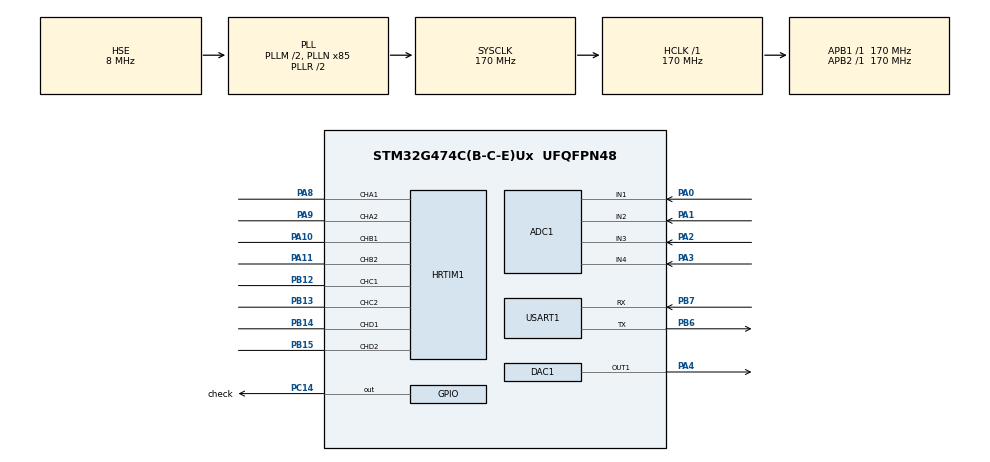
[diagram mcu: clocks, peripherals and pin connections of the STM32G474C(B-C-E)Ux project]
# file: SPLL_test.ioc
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ADC1.Channel-0\#ChannelRegularConversion=ADC_CHANNEL_1
ADC1.Channel-1\#ChannelRegularConversion=ADC_CHANNEL_2
ADC1.Channel-2\#ChannelRegularConversion=ADC_CHANNEL_3
ADC1.Channel-3\#ChannelRegularConversion=ADC_CHANNEL_4
ADC1.DMAContinuousRequests=ENABLE
ADC1.DiscontinuousConvMode=ENABLE
ADC1.EOCSelection=ADC_EOC_SINGLE_CONV
ADC1.ExternalTrigConv=ADC_EXTERNALTRIG_T3_TRGO
ADC1.LowPowerAutoWait=DISABLE
ADC1.NbrOfConversion=4
ADC1.NbrOfConversionFlag=1
ADC1.NbrOfDiscConversion=4
ADC1.OffsetNumber-0\#ChannelRegularConversion=ADC_OFFSET_NONE
ADC1.OffsetNumber-1\#ChannelRegularConversion=ADC_OFFSET_NONE
ADC1.OffsetNumber-2\#ChannelRegularConversion=ADC_OFFSET_NONE
ADC1.OffsetNumber-3\#ChannelRegularConversion=ADC_OFFSET_NONE
ADC1.Rank-0\#ChannelRegularConversion=1
ADC1.Rank-1\#ChannelRegularConversion=2
ADC1.Rank-2\#ChannelRegularConversion=3
ADC1.Rank-3\#ChannelRegularConversion=4
ADC1.SamplingTime-0\#ChannelRegularConversion=ADC_SAMPLETIME_2CYCLES_5
ADC1.SamplingTime-1\#ChannelRegularConversion=ADC_SAMPLETIME_2CYCLES_5
ADC1.SamplingTime-2\#ChannelRegularConversion=ADC_SAMPLETIME_2CYCLES_5
ADC1.SamplingTime-3\#ChannelRegularConversion=ADC_SAMPLETIME_2CYCLES_5
ADC1.master=1
DAC1.DAC_DMADoubleDataMode-DAC_OUT1=DISABLE
DAC1.DAC_OutputBuffer-DAC_OUT1=DAC_OUTPUTBUFFER_DISABLE
DAC1.DAC_SignedFormat-DAC_OUT1=DISABLE
DAC1.DAC_Trigger2_OUT1-DAC_OUT1=DAC_TRIGGER_NONE
DAC1.DAC_Trigger_OUT1-DAC_OUT1=DAC_TRIGGER_NONE
DAC1.DAC_UserTrimming-DAC_OUT1=DAC_TRIMMING_FACTORY
Dma.ADC1.0.Direction=DMA_PERIPH_TO_MEMORY
Dma.ADC1.0.EventEnable=DISABLE
Dma.ADC1.0.Instance=DMA1_Channel1
Dma.ADC1.0.MemDataAlignment=DMA_MDATAALIGN_HALFWORD
Dma.ADC1.0.MemInc=DMA_MINC_ENABLE
Dma.ADC1.0.Mode=DMA_CIRCULAR
Dma.ADC1.0.PeriphDataAlignment=DMA_PDATAALIGN_HALFWORD
Dma.ADC1.0.PeriphInc=DMA_PINC_DISABLE
Dma.ADC1.0.Polarity=HAL_DMAMUX_REQ_GEN_RISING
Dma.ADC1.0.Priority=DMA_PRIORITY_VERY_HIGH
Dma.ADC1.0.RequestNumber=1
Dma.ADC1.0.SignalID=NONE
Dma.ADC1.0.SyncEnable=DISABLE
Dma.ADC1.0.SyncPolarity=HAL_DMAMUX_SYNC_NO_EVENT
Dma.ADC1.0.SyncRequestNumber=1
Dma.ADC1.0.SyncSignalID=NONE
Dma.DAC1_CH1.1.Direction=DMA_MEMORY_TO_PERIPH
Dma.DAC1_CH1.1.EventEnable=DISABLE
Dma.DAC1_CH1.1.Instance=DMA1_Channel2
Dma.DAC1_CH1.1.MemDataAlignment=DMA_MDATAALIGN_HALFWORD
Dma.DAC1_CH1.1.MemInc=DMA_MINC_ENABLE
Dma.DAC1_CH1.1.Mode=DMA_CIRCULAR
Dma.DAC1_CH1.1.PeriphDataAlignment=DMA_PDATAALIGN_HALFWORD
Dma.DAC1_CH1.1.PeriphInc=DMA_PINC_DISABLE
Dma.DAC1_CH1.1.Polarity=HAL_DMAMUX_REQ_GEN_RISING
Dma.DAC1_CH1.1.Priority=DMA_PRIORITY_VERY_HIGH
Dma.DAC1_CH1.1.RequestNumber=1
Dma.DAC1_CH1.1.SignalID=NONE
Dma.DAC1_CH1.1.SyncEnable=DISABLE
Dma.DAC1_CH1.1.SyncPolarity=HAL_DMAMUX_SYNC_NO_EVENT
Dma.DAC1_CH1.1.SyncRequestNumber=1
Dma.DAC1_CH1.1.SyncSignalID=NONE
Dma.Request0=ADC1
Dma.Request1=DAC1_CH1
HRTIM1.CompareUnit1-MasterTimer=HRTIM_COMPAREUNIT_1
HRTIM1.CompareUnit1-Output_TA1TA2=HRTIM_COMPAREUNIT_1
HRTIM1.CompareUnit1-Output_TB1TB2=HRTIM_COMPAREUNIT_1
HRTIM1.CompareUnit2-MasterTimer=HRTIM_COMPAREUNIT_2
HRTIM1.CompareUnit3-MasterTimer=HRTIM_COMPAREUNIT_3
HRTIM1.CompareUnit4-MasterTimer=HRTIM_COMPAREUNIT_4
HRTIM1.CompareValue1-MasterTimer=100
HRTIM1.CompareValue2-MasterTimer=100
HRTIM1.CompareValue3-MasterTimer=200
HRTIM1.CompareValue4-MasterTimer=300
HRTIM1.DeadTimeInsertion-Output_TA1TA2=HRTIM_TIMDEADTIMEINSERTION_ENABLED
HRTIM1.DeadTimeInsertion-Output_TB1TB2=HRTIM_TIMDEADTIMEINSERTION_ENABLED
HRTIM1.DeadTimeInsertion-Output_TC1TC2=HRTIM_TIMDEADTIMEINSERTION_ENABLED
HRTIM1.DeadTimeInsertion-Output_TD1TD2=HRTIM_TIMDEADTIMEINSERTION_ENABLED
HRTIM1.FallingSign-Output_TA1TA2=HRTIM_TIMDEADTIME_FALLINGSIGN_NEGATIVE
HRTIM1.FallingSign-Output_TB1TB2=HRTIM_TIMDEADTIME_FALLINGSIGN_NEGATIVE
HRTIM1.FallingValue-Output_TA1TA2=0
HRTIM1.FallingValue-Output_TB1TB2=0
HRTIM1.ModeTimeBase-Output_TA1TA2=HRTIM_MODE_SINGLESHOT_RETRIGGERABLE
HRTIM1.ModeTimeBase-Output_TB1TB2=HRTIM_MODE_SINGLESHOT_RETRIGGERABLE
HRTIM1.NumberResetSource1-Output_TA1TA2=1
HRTIM1.NumberResetSource1-Output_TB1TB2=1
HRTIM1.NumberResetTrigger-Output_TA1TA2=1
HRTIM1.NumberResetTrigger-Output_TB1TB2=1
HRTIM1.NumberSetSource1-Output_TA1TA2=1
HRTIM1.NumberSetSource1-Output_TB1TB2=1
HRTIM1.Periode_MASTER=54400-1
HRTIM1.Periode_TA=54400-1
HRTIM1.Periode_TB=54400-1
HRTIM1.Periode_TC=54400-1
HRTIM1.Periode_TD=54400-1
HRTIM1.Polarity1-Output_TA1TA2=HRTIM_OUTPUTPOLARITY_LOW
HRTIM1.Polarity1-Output_TB1TB2=HRTIM_OUTPUTPOLARITY_LOW
HRTIM1.Polarity2-Output_TA1TA2=HRTIM_OUTPUTPOLARITY_LOW
HRTIM1.Polarity2-Output_TB1TB2=HRTIM_OUTPUTPOLARITY_LOW
HRTIM1.PreloadEnable-MasterTimer=HRTIM_PRELOAD_ENABLED
HRTIM1.PreloadEnable-Output_TA1TA2=HRTIM_PRELOAD_ENABLED
HRTIM1.PreloadEnable-Output_TB1TB2=HRTIM_PRELOAD_ENABLED
HRTIM1.PreloadEnable-Output_TC1TC2=HRTIM_PRELOAD_ENABLED
HRTIM1.PreloadEnable-Output_TD1TD2=HRTIM_PRELOAD_ENABLED
HRTIM1.RepetitionUpdate-MasterTimer=HRTIM_UPDATEONREPETITION_ENABLED
HRTIM1.RepetitionUpdate-Output_TA1TA2=HRTIM_UPDATEONREPETITION_ENABLED
HRTIM1.RepetitionUpdate-Output_TB1TB2=HRTIM_UPDATEONREPETITION_ENABLED
HRTIM1.RepetitionUpdate-Output_TC1TC2=HRTIM_UPDATEONREPETITION_ENABLED
HRTIM1.RepetitionUpdate-Output_TD1TD2=HRTIM_UPDATEONREPETITION_ENABLED
HRTIM1.ResetOutput1_Source1-Output_TA1TA2=HRTIM_OUTPUTRESET_TIMCMP1
HRTIM1.ResetOutput1_Source1-Output_TB1TB2=HRTIM_OUTPUTRESET_TIMCMP1
HRTIM1.ResetTrigger1-Output_TA1TA2=HRTIM_TIMRESETTRIGGER_MASTER_CMP1
HRTIM1.ResetTrigger1-Output_TB1TB2=HRTIM_TIMRESETTRIGGER_MASTER_CMP2
HRTIM1.ResetUpdate-Output_TA1TA2=HRTIM_TIMUPDATEONRESET_ENABLED
HRTIM1.ResetUpdate-Output_TB1TB2=HRTIM_TIMUPDATEONRESET_ENABLED
HRTIM1.RisingSign-Output_TA1TA2=HRTIM_TIMDEADTIME_RISINGSIGN_NEGATIVE
HRTIM1.RisingSign-Output_TB1TB2=HRTIM_TIMDEADTIME_RISINGSIGN_NEGATIVE
HRTIM1.RisingValue-Output_TA1TA2=0
HRTIM1.RisingValue-Output_TB1TB2=0
HRTIM1.SetOutput1_Source1-Output_TA1TA2=HRTIM_OUTPUTSET_MASTERCMP1
HRTIM1.SetOutput1_Source1-Output_TB1TB2=HRTIM_OUTPUTSET_MASTERCMP2
Mcu.Family=STM32G4
Mcu.Name=STM32G474C(B-C-E)Ux
Mcu.Package=UFQFPN48
NVIC.DMA1_Channel1_IRQn=true\:0\:0\:false\:false\:true\:false\:true\:true
NVIC.DMA1_Channel2_IRQn=true\:0\:0\:false\:false\:true\:false\:true\:true
NVIC.PriorityGroup=NVIC_PRIORITYGROUP_4
PA0.Mode=IN1-Single-Ended
PA0.Signal=ADC1_IN1
PA1.Mode=IN2-Single-Ended
PA1.Signal=ADC1_IN2
PA10.Mode=Output_TB1TB2
PA10.Signal=HRTIM1_CHB1
PA11.Mode=Output_TB1TB2
PA11.Signal=HRTIM1_CHB2
PA13.Mode=Serial_Wire
PA13.Signal=SYS_JTMS-SWDIO
PA14.Mode=Serial_Wire
PA14.Signal=SYS_JTCK-SWCLK
PA2.Mode=IN3-Single-Ended
PA2.Signal=ADC1_IN3
PA3.Mode=IN4-Single-Ended
PA3.Signal=ADC1_IN4
PA4.Signal=COMP_DAC11_group
PA8.Mode=Output_TA1TA2
PA8.Signal=HRTIM1_CHA1
PA9.Mode=Output_TA1TA2
PA9.Signal=HRTIM1_CHA2
PB12.Mode=Output_TC1TC2
PB12.Signal=HRTIM1_CHC1
PB13.Mode=Output_TC1TC2
PB13.Signal=HRTIM1_CHC2
PB14.Mode=Output_TD1TD2
PB14.Signal=HRTIM1_CHD1
PB15.Mode=Output_TD1TD2
PB15.Signal=HRTIM1_CHD2
PB6.Mode=Asynchronous
PB6.Signal=USART1_TX
PB7.Mode=Asynchronous
PB7.Signal=USART1_RX
PC14-OSC32_IN.GPIO_Label=check
PC14-OSC32_IN.Signal=GPIO_Output
PF0-OSC_IN.Mode=HSE-External-Oscillator
PF0-OSC_IN.Signal=RCC_OSC_IN
PF1-OSC_OUT.Mode=HSE-External-Oscillator
PF1-OSC_OUT.Signal=RCC_OSC_OUT
ProjectManager.HeapSize=0x400
ProjectManager.StackSize=0x800
ProjectManager.TargetToolchain=MDK-ARM V5.32
RCC.ADC12Freq_Value=170000000
RCC.ADC345Freq_Value=170000000
RCC.AHBFreq_Value=170000000
RCC.APB1Freq_Value=170000000
RCC.APB1TimFreq_Value=170000000
RCC.APB2Freq_Value=170000000
RCC.APB2TimFreq_Value=170000000
RCC.CortexFreq_Value=170000000
RCC.EXTERNAL_CLOCK_VALUE=12288000
RCC.HCLKFreq_Value=170000000
RCC.HSE_VALUE=8000000
RCC.HSI48_VALUE=48000000
RCC.HSI_VALUE=16000000
RCC.LSE_VALUE=32768
RCC.PLLM=RCC_PLLM_DIV2
RCC.PLLN=85
RCC.PLLSourceVirtual=RCC_PLLSOURCE_HSE
RCC.SYSCLKFreq_VALUE=170000000
RCC.SYSCLKSource=RCC_SYSCLKSOURCE_PLLCLK
RCC.USBFreq_Value=170000000
RCC.VCOOutputFreq_Value=340000000
SH.COMP_DAC11_group.0=DAC1_OUT1,DAC_OUT1
TIM3.AutoReloadPreload=TIM_AUTORELOAD_PRELOAD_ENABLE
TIM3.PeriodNoDither=39
TIM3.Prescaler=169
TIM3.TIM_MasterOutputTrigger=TIM_TRGO_UPDATE
TIM6.AutoReloadPreload=TIM_AUTORELOAD_PRELOAD_ENABLE
TIM6.PeriodNoDither=39
TIM6.Prescaler=169
TIM6.TIM_MasterOutputTrigger=TIM_TRGO_UPDATE
USART1.VirtualMode-Asynchronous=VM_ASYNC
VP_HRTIM1_VS_hrtimMasterTimerNoOutput.Mode=MasterTimer
VP_SYS_VS_DBSignals.Mode=DisableDeadBatterySignals
VP_SYS_V_VREFBUF.Mode=ExternalMode
VP_TIM3_VS_ClockSourceINT.Mode=Internal
VP_TIM6_VS_ClockSourceINT.Mode=Enable_Timer
board=custom

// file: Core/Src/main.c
/* USER CODE BEGIN Header */
/**
 ******************************************************************************
 * @file           : main.c
 * @brief          : Main program body
 ******************************************************************************
 * @attention
 *
 * Copyright (c) 2023 STMicroelectronics.
 * All rights reserved.
 *
 * This software is licensed under terms that can be found in the LICENSE file
 * in the root directory of this software component.
 * If no LICENSE file comes with this software, it is provided AS-IS.
 *
 ******************************************************************************
 */
/* USER CODE END Header */
#include "main.h"
#include "adc.h"
#include "dac.h"
#include "dma.h"
#include "hrtim.h"
#include "tim.h"
#include "usart.h"
#include "gpio.h"

/* USER CODE BEGIN Includes */

#include <math.h>
#include "spll_sogi.h"

#include "arm_math.h"
#include "arm_const_structs.h"

#include "stdarg.h"
#include "stdio.h"
#include "stdlib.h"

extern SPLL_1PH_SOGI spll1;

#define PR_ISR_FREQ 50000

/* USER CODE END Includes */

/* USER CODE BEGIN PTD */
#define CLAMP(x, max, min) ((x < max) ? ((x > min) ? x : min) : max)
/* USER CODE END PTD */

void SystemClock_Config(void);

/* USER CODE BEGIN 0 */

float HB_duty=0.2;
uint16_t ADC_Value[4] = {0};
uint16_t DAC_Value = 0;

uint32_t ARR;

typedef struct
{
  float A0;       /**< The derived gain, A0 = Kp + Ki + Kd . */
  float A1;       /**< The derived gain, A1 = -Kp - 2Kd. */
  float A2;       /**< The derived gain, A2 = Kd . */
  float state[3]; /**< The state array of length 3. */
  float Kp;       /**< The proportional gain. */
  float Ki;       /**< The integral gain. */
  float Kd;       /**< The derivative gain. */
} PID_t;
PID_t pid_i_Cur = {
    .Kp = 60,
    .Ki = 30};
PID_t pid_o_Vol = {
    .Kp = 0.03,
    .Ki = 0.05,
    .Kd = 0.00};
inline void pid_init(PID_t *S)
{
  /* Derived coefficient A0 */
  S->A0 = S->Kp + S->Ki + S->Kd;
  /* Derived coefficient A1 */
  S->A1 = (-S->Kp) - ((float)2.0f * S->Kd);
  /* Derived coefficient A2 */
  S->A2 = S->Kd;
}
inline float pid_process_i_Cur(PID_t *S, float aim, float current)
{
  pid_init(S);
  float out;
  float in = aim - current;

  /* u[t] = u[t - 1] + A0 * e[t] + A1 * e[t - 1] + A2 * e[t - 2]  */
  out = (S->A0 * in) +
        (S->A1 * S->state[0]) + (S->A2 * S->state[1]) + (S->state[2]);

  /* Update state */
  S->state[1] = S->state[0];
  S->state[0] = in;
  S->state[2] = out;

  out = CLAMP(out, 99, -99);
  /* return to application */
  return (out);
}
inline float pid_process_o_Vol(PID_t *S, float aim, float current)
{
  pid_init(S);
  float out;
  float in = aim - current;

  /* u[t] = u[t - 1] + A0 * e[t] + A1 * e[t - 1] + A2 * e[t - 2]  */
  out = (S->A0 * in) +
        (S->A1 * S->state[0]) + (S->A2 * S->state[1]) + (S->state[2]);

  /* Update state */
  S->state[1] = S->state[0];
  S->state[0] = in;
  S->state[2] = out;

  out = CLAMP(out, 5, 0.1);
  /* return to application */
  return (out);
}

int UART_printf(UART_HandleTypeDef *huart, const char *fmt, ...)
{
  va_list ap;
  va_start(ap, fmt);
  int length;
  char buffer[128];
  length = vsnprintf(buffer, 128, fmt, ap);
  HAL_UART_Transmit(huart, (uint8_t *)buffer, length, HAL_MAX_DELAY); // HAL_MAX_DELAY
  //    CDC_Transmit_FS((uint8_t*)buffer,length);
  va_end(ap);
  return length;
}
/* USER CODE END 0 */

int main(void)
{

  /* MCU Configuration--------------------------------------------------------*/

  /* Reset of all peripherals, Initializes the Flash interface and the Systick. */
  HAL_Init();

  /* Configure the system clock */
  SystemClock_Config();

  /* Initialize all configured peripherals */
  MX_GPIO_Init();
  MX_DMA_Init();
  MX_ADC1_Init();
  MX_DAC1_Init();
  MX_TIM3_Init();
  MX_TIM6_Init();
  MX_HRTIM1_Init();
  MX_USART1_UART_Init();
  /* USER CODE BEGIN 2 */
  UART_printf(&huart1,"=== MCU Peripheral turn on ===\n");

  HAL_Delay(1000);

  HAL_TIM_Base_Start(&htim3);
  // HAL_TIM_Base_Start(&htim6);
  HAL_ADC_Start_DMA(&hadc1, (uint32_t *)ADC_Value, 4);
  // HAL_DAC_Start_DMA(&hdac1,DAC_CHANNEL_1,(uint32_t *)&DAC_Value,1,DAC_ALIGN_12B_R);
  HAL_DAC_Start(&hdac1, DAC_CHANNEL_1);

  /* USER CODE END 2 */

  /* Infinite loop */
  /* USER CODE BEGIN WHILE */

  ARR = (hhrtim1.Instance->sTimerxRegs[0].PERxR);

  //	hhrtim1.Init.SyncOptions = HRTIM_SYNCOPTION_SLAVE;
  //  hhrtim1.Init.SyncInputSource = HRTIM_SYNCINPUTSOURCE_INTERNALEVENT;

  HAL_Delay(1);

  HAL_HRTIM_WaveformCounterStart(&hhrtim1, HRTIM_TIMERID_TIMER_A);
  hhrtim1.Instance->sTimerxRegs[0].CMP1xR = (int)(0.5f * (hhrtim1.Instance->sTimerxRegs[0].PERxR));

  HAL_HRTIM_WaveformCounterStart(&hhrtim1, HRTIM_TIMERID_TIMER_B);
  HAL_HRTIM_WaveformCounterStart(&hhrtim1, HRTIM_TIMERID_MASTER);
  HAL_HRTIM_WaveformOutputStart(&hhrtim1, HRTIM_OUTPUT_TA1 | HRTIM_OUTPUT_TA2 | HRTIM_OUTPUT_TB1 | HRTIM_OUTPUT_TB2);
  hhrtim1.Instance->sTimerxRegs[1].CMP1xR = (int)(0.5f * (hhrtim1.Instance->sTimerxRegs[1].PERxR));

  HAL_GPIO_WritePin(check_GPIO_Port, check_Pin, 0);
  while (1)
  {
    UART_printf(&huart1,"=== MCU working ===\n");
    //UART_printf(&huart1, "i_cur:%f,%f,%f,%f,%f,%f\n", i_Cur, HB_duty, i_Vol, o_Vol, k,i_Cur_ref);
    /* USER CODE END WHILE */

  }
}

void SystemClock_Config(void)
{
  RCC_OscInitTypeDef RCC_OscInitStruct = {0};
  RCC_ClkInitTypeDef RCC_ClkInitStruct = {0};

  /** Configure the main internal regulator output voltage
  */
  HAL_PWREx_ControlVoltageScaling(PWR_REGULATOR_VOLTAGE_SCALE1_BOOST);

  /** Initializes the RCC Oscillators according to the specified parameters
  * in the RCC_OscInitTypeDef structure.
  */
  RCC_OscInitStruct.OscillatorType = RCC_OSCILLATORTYPE_HSE;
  RCC_OscInitStruct.HSEState = RCC_HSE_ON;
  RCC_OscInitStruct.PLL.PLLState = RCC_PLL_ON;
  RCC_OscInitStruct.PLL.PLLSource = RCC_PLLSOURCE_HSE;
  RCC_OscInitStruct.PLL.PLLM = RCC_PLLM_DIV2;
  RCC_OscInitStruct.PLL.PLLN = 85;
  RCC_OscInitStruct.PLL.PLLP = RCC_PLLP_DIV2;
  RCC_OscInitStruct.PLL.PLLQ = RCC_PLLQ_DIV2;
  RCC_OscInitStruct.PLL.PLLR = RCC_PLLR_DIV2;
  if (HAL_RCC_OscConfig(&RCC_OscInitStruct) != HAL_OK)
  {
    Error_Handler();
  }

  /** Initializes the CPU, AHB and APB buses clocks
  */
  RCC_ClkInitStruct.ClockType = RCC_CLOCKTYPE_HCLK|RCC_CLOCKTYPE_SYSCLK
                              |RCC_CLOCKTYPE_PCLK1|RCC_CLOCKTYPE_PCLK2;
  RCC_ClkInitStruct.SYSCLKSource = RCC_SYSCLKSOURCE_PLLCLK;
  RCC_ClkInitStruct.AHBCLKDivider = RCC_SYSCLK_DIV1;
  RCC_ClkInitStruct.APB1CLKDivider = RCC_HCLK_DIV1;
  RCC_ClkInitStruct.APB2CLKDivider = RCC_HCLK_DIV1;

  if (HAL_RCC_ClockConfig(&RCC_ClkInitStruct, FLASH_LATENCY_4) != HAL_OK)
  {
    Error_Handler();
  }
}

/* USER CODE BEGIN 4 */

void HAL_ADC_ConvCpltCallback(ADC_HandleTypeDef *hadc)
{
  float ac_value;
  if (hadc->Instance == ADC1)
  {

    hhrtim1.Instance->sTimerxRegs[0].CMP1xR = (int)((HB_duty) * (hhrtim1.Instance->sTimerxRegs[0].PERxR));
    hhrtim1.Instance->sTimerxRegs[1].CMP1xR = (int)((HB_duty) * (hhrtim1.Instance->sTimerxRegs[1].PERxR));

    HAL_DAC_SetValue(&hdac1, DAC_CHANNEL_1, DAC_ALIGN_12B_R, DAC_Value);
  }
}

/* USER CODE END 4 */

void Error_Handler(void)
{
  __disable_irq();
  while (1)
  {
  }
}
